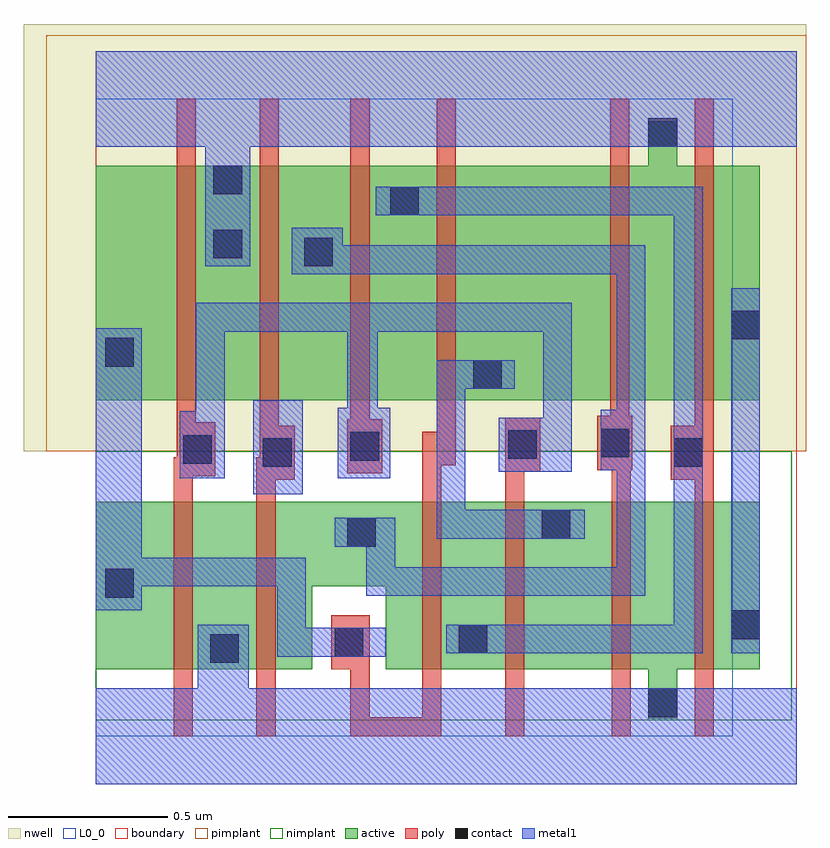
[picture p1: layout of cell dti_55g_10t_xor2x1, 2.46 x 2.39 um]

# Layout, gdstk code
from math import pi, radians
import gdstk
lib = gdstk.Library(unit=1e-6, precision=1e-09)
def R(c, l, rs):  # rectangles x0, y0, x1, y1
    for r in rs: c.add(gdstk.rectangle(r[:2], r[2:], *l))
def P(c, l, *ps):  # polygons
    for p in ps: c.add(gdstk.Polygon(p, *l))
L0_0 = (0, 0)
nwell = (3, 0)
active = (6, 0)
poly = (17, 0)
pimplant = (25, 0)
nimplant = (26, 0)
contact = (30, 0)
metal1 = (31, 0)
boundary = (108, 0)
L923_0 = (923, 0)

template_55g_10t = lib.new_cell('template_55g_10t')
R(template_55g_10t, metal1, [(0,-0.15,0.2,0.15), (0,1.85,0.2,2.15)])
template_55g_10t.add(gdstk.FlexPath([(0.2,0.21),(0,0.21)], 0, ends="flush", simple_path=True, layer=923, datatype=0))  # L923_0
template_55g_10t.add(gdstk.FlexPath([(0.2,0.735),(0,0.735)], 0, ends="flush", simple_path=True, layer=923, datatype=0))  # L923_0
template_55g_10t.add(gdstk.FlexPath([(0.2,0.895),(0,0.895)], 0, ends="flush", simple_path=True, layer=923, datatype=0))  # L923_0
template_55g_10t.add(gdstk.FlexPath([(0.2,1.055),(0,1.055)], 0, ends="flush", simple_path=True, layer=923, datatype=0))  # L923_0
template_55g_10t.add(gdstk.FlexPath([(0.2,1.79),(0,1.79)], 0, ends="flush", simple_path=True, layer=923, datatype=0))  # L923_0

cellgrid_nom2 = lib.new_cell('cellgrid_noM2')
R(cellgrid_nom2, L0_0, [(0,0,0.2,0.2)])
cellgrid_nom2.add(gdstk.FlexPath([(0.2,0),(0,0.2)], 0, ends="flush", simple_path=True, layer=0, datatype=0))  # L0_0
cellgrid_nom2.add(gdstk.FlexPath([(0.2,0.2),(0,0)], 0, ends="flush", simple_path=True, layer=0, datatype=0))  # L0_0

pmos_735_n_2 = lib.new_cell('pmos_735_n_2')
R(pmos_735_n_2, nwell, [(-0.275,-0.16,0.335,0.895)])
R(pmos_735_n_2, active, [(-0.115,0,0.175,0.735)])
R(pmos_735_n_2, poly, [(0,-0.14,0.06,0.875)])
R(pmos_735_n_2, pimplant, [(-0.245,-0.16,0.305,0.895)])

cnt = lib.new_cell('cnt')
R(cnt, contact, [(-0.045,-0.045,0.045,0.045)])
R(cnt, metal1, [(-0.045,-0.045,0.045,0.045)])

pcnt_v = lib.new_cell('pcnt_v')
R(pcnt_v, poly, [(-0.055,-0.085,0.055,0.085)])
pcnt_v.add(gdstk.Reference(cnt, (0,0)))

cnt_n = lib.new_cell('cnt_n')
R(cnt_n, active, [(-0.06,-0.075,0.06,0.075)])
R(cnt_n, contact, [(-0.045,-0.045,0.045,0.045)])
R(cnt_n, metal1, [(-0.045,-0.045,0.045,0.045)])

nmos_525_n_2 = lib.new_cell('nmos_525_n_2')
R(nmos_525_n_2, active, [(-0.115,0,0.175,0.525)])
R(nmos_525_n_2, poly, [(0,-0.14,0.06,0.665)])
R(nmos_525_n_2, nimplant, [(-0.245,-0.16,0.305,0.685)])

dti_55g_10t_xor2x1 = lib.new_cell('dti_55g_10t_xor2x1')
R(dti_55g_10t_xor2x1, nwell, [(-0.225,0.895,2.23,2.235)])
R(dti_55g_10t_xor2x1, active, [(1.735,0.055,1.825,0.21), (0,0.21,0.13,0.735), (1.46,0.21,1.505,0.735), (2.015,0.21,2.085,0.735), (0.68,0.47,0.97,0.735), (0,1.055,0.145,1.79), (0.085,1.055,0.14,1.13), (1.245,1.055,1.5,1.79), (2.055,1.055,2.085,1.79), (0.085,1.13,0.095,1.28), (1.735,1.79,1.825,1.93)])
R(dti_55g_10t_xor2x1, poly, [(0.245,0,0.305,0.07), (0.505,0,0.565,0.07), (0.8,0,1.085,0.06), (1.285,0,1.345,0.07), (1.62,0,1.68,0.07), (1.88,0,1.94,0.07), (0.8,0.06,0.86,0.38), (1.025,0.06,1.085,0.07), (1.025,0.85,1.13,0.955), (0.255,0.875,0.265,0.915), (1.875,0.875,1.9,0.915), (1.915,0.875,1.94,0.915), (0.255,1.93,0.315,2), (0.515,1.93,0.575,2), (0.8,1.93,0.86,2), (1.07,1.93,1.13,2), (1.615,1.93,1.675,2), (1.88,1.93,1.94,2)])
R(dti_55g_10t_xor2x1, pimplant, [(-0.155,0.895,2.17,2.2), (2.17,0.895,2.23,2.2)])
R(dti_55g_10t_xor2x1, metal1, [(0.32,0.15,0.48,0.35), (1.995,0.26,2.085,1.405), (0.495,0.76,0.65,1.055), (0.345,1.475,0.485,1.85)])
P(dti_55g_10t_xor2x1, metal1, [(1.07,0.62),(1.07,1.18),(1.315,1.18),(1.315,1.09),(1.16,1.09),(1.16,0.71),(1.535,0.71),(1.535,0.62)],
  [(0.57,0.25),(0.57,0.47),(0.145,0.47),(0.145,0.395),(0,0.395),(0,1.28),(0.145,1.28),(0.145,0.56),(0.66,0.56),(0.66,0.34),(0.91,0.34),(0.91,0.25)],
  [(0.265,0.81),(0.265,1.02),(0.315,1.02),(0.315,1.36),(1.495,1.36),(1.495,0.83),(1.265,0.83),(1.265,1),(1.405,1),(1.405,1.27),(0.885,1.27),(0.885,1.03),(0.925,1.03),(0.925,0.81),(0.76,0.81),(0.76,1.03),(0.79,1.03),(0.79,1.27),(0.405,1.27),(0.405,0.81)],
  [(0.85,0.44),(0.85,0.595),(0.75,0.595),(0.75,0.685),(0.94,0.685),(0.94,0.53),(1.635,0.53),(1.635,0.835),(1.585,0.835),(1.585,1.025),(1.635,1.025),(1.635,1.45),(0.615,1.45),(0.615,1.595),(0.775,1.595),(0.775,1.54),(1.725,1.54),(1.725,0.44)],
  [(1.1,0.26),(1.1,0.35),(1.815,0.35),(1.815,1.635),(0.88,1.635),(0.88,1.725),(1.905,1.725),(1.905,0.26)])
R(dti_55g_10t_xor2x1, boundary, [(0,-0.15,2.2,2.15)])
r = gdstk.Reference(template_55g_10t, (0,0)); r.repetition = gdstk.Repetition(11, 1, v1=(0.2,0), v2=(0,0)); dti_55g_10t_xor2x1.add(r)
r = gdstk.Reference(cellgrid_nom2, (0,0)); r.repetition = gdstk.Repetition(10, 10, v1=(0.2,0), v2=(0,0.2)); dti_55g_10t_xor2x1.add(r)
dti_55g_10t_xor2x1.add(gdstk.Reference(pmos_735_n_2, (0.255,1.055)))
dti_55g_10t_xor2x1.add(gdstk.Reference(pcnt_v, (1.63,0.92), rotation=pi))
dti_55g_10t_xor2x1.add(gdstk.Reference(pmos_735_n_2, (1.88,1.055)))
dti_55g_10t_xor2x1.add(gdstk.Reference(cnt, (2.04,0.35), rotation=pi/2))
dti_55g_10t_xor2x1.add(gdstk.Reference(pcnt_v, (1.86,0.89)))
dti_55g_10t_xor2x1.add(gdstk.Reference(pmos_735_n_2, (1.615,1.055)))
dti_55g_10t_xor2x1.add(gdstk.Reference(cnt, (1.23,1.135)))
dti_55g_10t_xor2x1.add(gdstk.Reference(cnt, (1.445,0.665)))
dti_55g_10t_xor2x1.add(gdstk.Reference(cnt, (0.835,0.64)))
dti_55g_10t_xor2x1.add(gdstk.Reference(cnt, (1.185,0.305)))
dti_55g_10t_xor2x1.add(gdstk.Reference(cnt, (0.7,1.52)))
dti_55g_10t_xor2x1.add(gdstk.Reference(cnt, (0.97,1.68)))
dti_55g_10t_xor2x1.add(gdstk.Reference(cnt, (2.04,1.29)))
dti_55g_10t_xor2x1.add(gdstk.Reference(pcnt_v, (1.34,0.915)))
dti_55g_10t_xor2x1.add(gdstk.Reference(pcnt_v, (0.845,0.91)))
dti_55g_10t_xor2x1.add(gdstk.Reference(pcnt_v, (0.57,0.89)))
dti_55g_10t_xor2x1.add(gdstk.Reference(pcnt_v, (0.32,0.9)))
dti_55g_10t_xor2x1.add(gdstk.Reference(pcnt_v, (0.795,0.295), rotation=pi))
dti_55g_10t_xor2x1.add(gdstk.Reference(cnt_n, (0.075,0.48), rotation=pi))
dti_55g_10t_xor2x1.add(gdstk.Reference(cnt_n, (0.075,1.205), rotation=pi))
dti_55g_10t_xor2x1.add(gdstk.Reference(cnt_n, (0.405,0.275), rotation=pi/2))
dti_55g_10t_xor2x1.add(gdstk.Reference(cnt, (1.78,0.105)))
dti_55g_10t_xor2x1.add(gdstk.Reference(cnt, (1.78,1.895)))
dti_55g_10t_xor2x1.add(gdstk.Reference(nmos_525_n_2, (1.88,0.21)))
dti_55g_10t_xor2x1.add(gdstk.Reference(nmos_525_n_2, (1.62,0.21)))
dti_55g_10t_xor2x1.add(gdstk.Reference(nmos_525_n_2, (1.285,0.21)))
dti_55g_10t_xor2x1.add(gdstk.Reference(nmos_525_n_2, (1.025,0.21)))
dti_55g_10t_xor2x1.add(gdstk.Reference(nmos_525_n_2, (0.505,0.21)))
dti_55g_10t_xor2x1.add(gdstk.Reference(nmos_525_n_2, (0.245,0.21)))
dti_55g_10t_xor2x1.add(gdstk.Reference(cnt, (0.415,1.545)))
dti_55g_10t_xor2x1.add(gdstk.Reference(cnt, (0.415,1.745)))
dti_55g_10t_xor2x1.add(gdstk.Reference(pmos_735_n_2, (1.07,1.055)))
dti_55g_10t_xor2x1.add(gdstk.Reference(pmos_735_n_2, (0.8,1.055)))
dti_55g_10t_xor2x1.add(gdstk.Reference(pmos_735_n_2, (0.515,1.055)))

lib.write_gds('dti_55g_10t_xor2x1.gds')
